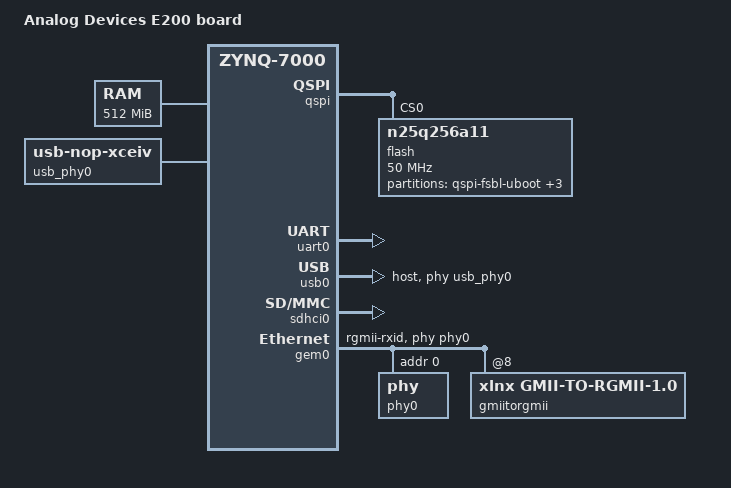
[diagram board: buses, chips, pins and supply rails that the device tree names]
/*
 * Analog Devices Inc. Pluto SDR board DTS
 *
 * Copyright (C) 2015-2018 Analog Devices Inc.
 *
 * SPDX-License-Identifier:	GPL-2.0+
 */
/dts-v1/;
#include "zynq-7000.dtsi"

/ {
	model = "Analog Devices E200 board";
	compatible = "xlnx,zynq-7000";

	aliases {
		ethernet0 = &gem0;
		serial0 = &uart0;
		spi0 = &qspi;
	};

	memory {
		device_type = "memory";
		reg = <0x0 0x20000000>;
	};

	chosen {
		bootargs = "earlyprintk";
		linux,stdout-path = &uart0;
		stdout-path = &uart0;
	};

	usb_phy0: phy0 {
		compatible = "usb-nop-xceiv";
		#phy-cells = <0>;
	};
};

&qspi {
	status = "okay";
	is-dual = <0>;
	num-cs = <1>;
	flash@0 {
		compatible = "n25q256a11,";
		reg = <0x0>;
		spi-tx-bus-width = <1>;
		spi-rx-bus-width = <4>;
		spi-max-frequency = <50000000>;
		#address-cells = <1>;
		#size-cells = <1>;
		partition@qspi-fsbl-uboot {
			label = "qspi-fsbl-uboot";
			reg = <0x0 0x100000>; /* 1M */
		};
		partition@qspi-uboot-env {
			label = "qspi-uboot-env";
			reg = <0x100000 0x20000>; /* 128k */
		};
		partition@qspi-nvmfs {
			label = "qspi-nvmfs";
			reg = <0x120000 0xE0000>; /* 1M */
		};
		partition@qspi-linux {
			label = "qspi-linux";
			reg = <0x200000 0x1E00000>; /* 30M */
		};
	};
};

&uart0 {
	status = "okay";
};

&usb0 {
	status = "okay";
	dr_mode = "host";
	usb-phy = <&usb_phy0>;
};

&sdhci0 {
	u-boot,dm-pre-reloc;
	status = "okay";
};

&gem0 {
	status = "okay";

	phy-handle = <&phy0>;
	phy-mode = "rgmii-rxid";

	phy0: phy@0 {
		device_type = "ethernet-phy";
		reg = <0x0>;
		// marvell,reg-init = <3 16 0xff00 0x1e 3 17 0xfff0 0x00>;
	};

	gmiitorgmii: gmiitorgmii@8 {
		compatible = "xlnx,gmii-to-rgmii-1.0";
		reg = <0x8>;
		phy-handle = <&phy0>;
	};

};

	

